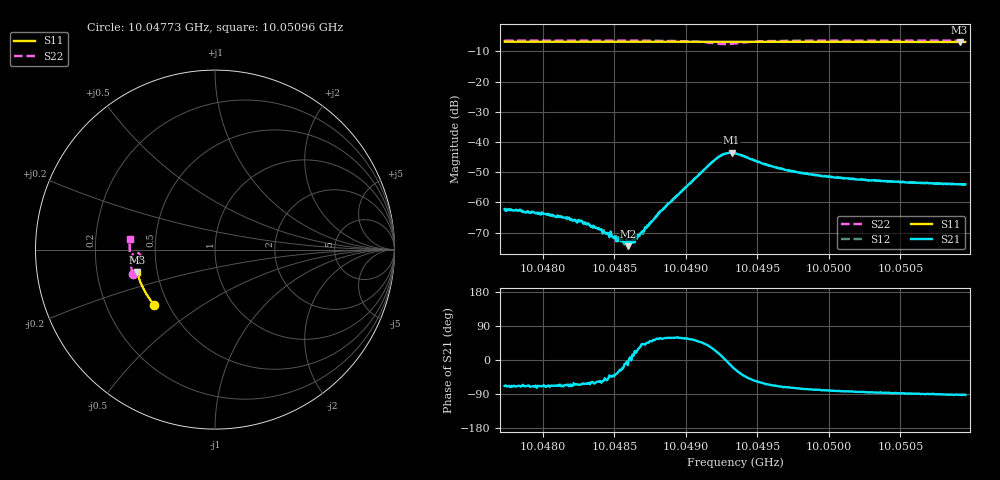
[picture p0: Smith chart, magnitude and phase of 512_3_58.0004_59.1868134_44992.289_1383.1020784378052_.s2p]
#  HZ  S  RI  R  50.00
! Rohde & Schwarz Vector Network Analyzer
! Rohde-Schwarz,ZNB20-2Port,1311601062101988,3.16
! Created: UTC 3/21/2024, 1:13:14 AM
! freq[Hz]  re:S11  im:S11  re:S21  im:S21  re:S12  im:S12  re:S22  im:S22
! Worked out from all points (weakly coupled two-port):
!   401 points, 10.04773 GHz to 10.05096 GHz, reference 50 ohm
!   highest |S21| = -43.59 dB at 10.04932 GHz (marker M1); lowest = -74.5 dB at 10.04859 GHz (marker M2)
!   lowest |S11| = -6.9 dB at 10.05092 GHz (marker M3), VSWR 2.65, Z = 19.2 - j6.12 ohm
!   |S11| at or under -10 dB: nowhere
!   |S22| runs from -7.6 to -6.4 dB; largest |S21 - S12| = 0.00045
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1.0047733e10  -0.3371 -0.3098  0.000283 -0.000717  0.000314 -0.000693  -0.4589 -0.1357
1.0048015e10  -0.3489 -0.2952  0.000224 -0.000603  0.000263 -0.000593  -0.4634 -0.1166
1.0048272e10  -0.3592 -0.2818  0.000224 -0.000443  0.000228 -0.000413  -0.4668 -0.0984
1.004849e10  -0.3677 -0.2701  0.000199 -0.000173  0.000225 -0.000189  -0.4686 -0.0821
1.0048514e10  -0.3684 -0.2689  0.000181 -0.000136  0.000227 -0.000154  -0.469 -0.0802
1.0048554e10  -0.37 -0.2667  0.000222 -8.76e-05  0.000215 -9.31e-05  -0.4691 -0.077
1.0048579e10  -0.3709 -0.2654  0.000224 -3.76e-05  0.00023 -1.11e-05  -0.4693 -0.075
1.0048595e10  -0.3716 -0.2644  0.000183 -4.42e-05  0.000223 -2.51e-05  -0.4695 -0.0737
1.0048627e10  -0.3726 -0.2627  0.000207 5.38e-05  0.000222 5.73e-05  -0.4695 -0.0711
1.0048651e10  -0.3735 -0.2613  0.000278 9.6e-05  0.000215 0.000102  -0.4696 -0.0689
1.0048675e10  -0.3744 -0.26  0.000237 0.000147  0.000235 0.000173  -0.4696 -0.0669
1.0048716e10  -0.3759 -0.2578  0.000296 0.000249  0.000234 0.000272  -0.4695 -0.0635
1.0048812e10  -0.3794 -0.2525  0.000371 0.000539  0.000368 0.000575  -0.4688 -0.0545
1.0049191e10  -0.3916 -0.2307  0.00416 0.00234  0.00401 0.00259  -0.4317 -0.0179
1.0049255e10  -0.3933 -0.2272  0.00603 0.000903  0.00603 0.00125  -0.4157 -0.0303
1.004932e10  -0.3953 -0.2238  0.00635 -0.00184  0.00646 -0.00142  -0.417 -0.0528
1.0049344e10  -0.396 -0.2225  0.00588 -0.00266  0.00611 -0.00231  -0.4225 -0.0587
1.0049634e10  -0.405 -0.2056  0.00139 -0.00345  0.00161 -0.00341  -0.4677 -0.0416
1.0049884e10  -0.4117 -0.1907  0.000616 -0.00281  0.000778 -0.00279  -0.4742 -0.0175
1.0050424e10  -0.4246 -0.1576  0.000136 -0.00223  0.000268 -0.00222  -0.4755 0.024
1.0050915e10  -0.434 -0.1269  -7.96e-05 -0.002  6.22e-05 -0.00201  -0.4725 0.0582
1.0050955e10  -0.4348 -0.1244  -7.87e-05 -0.00198  1.31e-05 -0.00197  -0.4722 0.061
